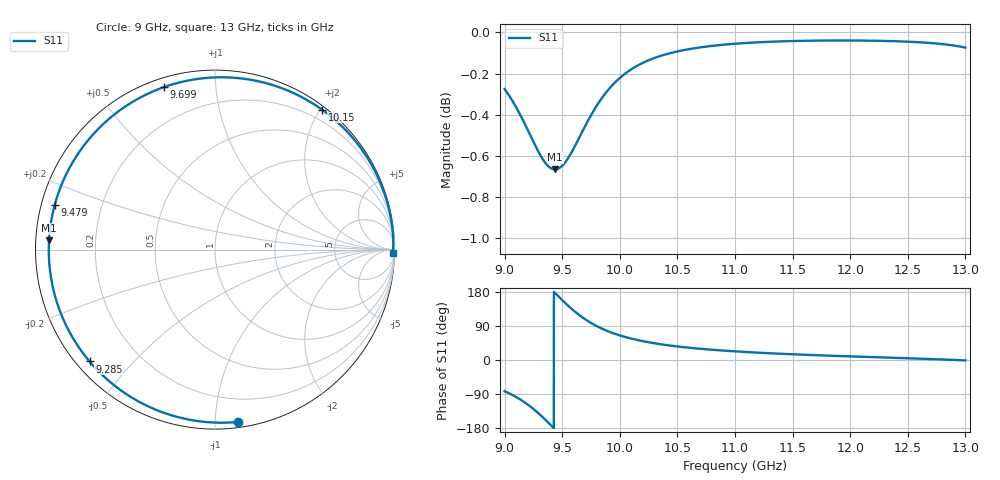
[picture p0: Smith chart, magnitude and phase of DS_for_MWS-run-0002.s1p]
! TOUCHSTONE file generated by CST DESIGN STUDIO
! Date and time: Wed Feb  5 13:30:03 2025
! Project name: C:\Work\MatlabApps\UnitCellOptimizationMatlab\CST\unitcell.cst
! Tree item: Tasks\Sweep1\SPara1\S-Parameters
! Header version: 2024
! Port assignment regex: !\s*Touchstone port\s*([0-9]+)\s*=\s*(CST MWS port|CST DES external port|CST DES block port)\s*(.+)\s* \(\"(.*)\"\)(\s*mode\s*([0-9]+))?.*
! Touchstone port assignment:
! Touchstone port 1 = CST DES external port 1 ("")
# GHz S MA R 50
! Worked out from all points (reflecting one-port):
!   4001 points, 9 GHz to 13 GHz, reference 50 ohm
!   lowest |S11| = -0.7 dB at 9.438 GHz (marker M1), VSWR 26.10, Z = 1.92 + j1.39 ohm
!   phase of S11 starts at -82 deg and turns -279 deg over the sweep
!   S11 on the Smith chart (normalised r, x): 9 GHz: 0.04, -1.14; 9.285 GHz: 0.04, -0.38; 9.479 GHz: 0.04, +0.14; 9.699 GHz: 0.04, +0.73; 10.15 GHz: 0.05, +2.02; 13 GHz: 39, -87
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9  0.9688 -82.3
9.087  0.9604 -95.3
9.158  0.9522 -108.4
9.223  0.944 -122.7
9.285  0.9364 -138.3
9.328  0.9318 -150.2
9.366  0.9287 -161.3
9.402  0.9268 -172.2
9.438  0.9262 176.8
9.479  0.927 164.3
9.5  0.9281 158.0
9.551  0.932 143.3
9.599  0.937 130.5
9.648  0.9428 118.6
9.699  0.9489 107.5
9.767  0.9565 94.8
9.847  0.9641 82.5
9.921  0.9699 73.1
10  0.9748 64.9
10.155  0.9816 52.6
10.311  0.986 43.6
10.5  0.9894 35.7
10.723  0.9919 28.9
11  0.9937 22.8
11.5  0.9952 15.1
12  0.9955 9.5
12.5  0.9948 4.6
13  0.9915 -1.1
